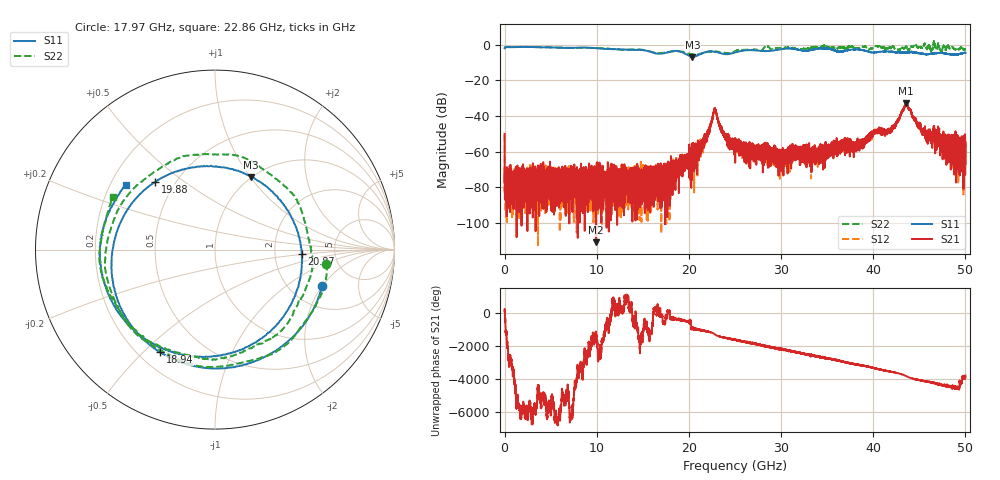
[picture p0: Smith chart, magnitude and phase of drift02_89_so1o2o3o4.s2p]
!Created with skrf (http://scikit-rf.org).
# Hz S RI R 50.0
!freq ReS11 ImS11 ReS21 ImS21 ReS12 ImS12 ReS22 ImS22
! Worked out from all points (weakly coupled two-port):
!   10001 points, 300 kHz to 50 GHz, reference 50 ohm
!   highest |S21| = -32.80 dB at 43.59 GHz (marker M1); lowest = -110.9 dB at 9.905 GHz (marker M2)
!   lowest |S11| = -6.9 dB at 20.37 GHz (marker M3), VSWR 2.64, Z = 49.6 + j50.3 ohm
!   |S11| at or under -10 dB: nowhere
!   |S22| runs from -5.7 to 2.3 dB; largest |S21 - S12| = 0.0042
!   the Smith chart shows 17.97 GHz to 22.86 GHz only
!   S11 on the Smith chart (normalised r, x): 17.97 GHz: 2.93, -1.99; 18.94 GHz: 0.29, -0.56; 19.88 GHz: 0.39, +0.39; 20.87 GHz: 2.86, -0.20; 22.86 GHz: 0.26, +0.30
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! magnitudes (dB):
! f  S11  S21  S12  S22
! 300 kHz  -2.1  -50.1  -50.8  -2.1
! 270.3 MHz  -1.4  -79.3  -75.6  -1.4
! 8.335 GHz  -1.7  -84.5  -82.1  -1.9
! 9.905 GHz  -2.1  -110.9  -70.9  -2.0
! 16.67 GHz  -5.2  -71.1  -71.0  -4.7
! 17.97 GHz  -4.0  -79.4  -70.4  -4.1
! 18.94 GHz  -3.8  -70.8  -72.5  -3.9
! 19.88 GHz  -6.0  -69.8  -64.5  -5.1
! 20.37 GHz  -6.9  -58.8  -57.8  -5.4
! 20.87 GHz  -6.3  -70.1  -63.7  -5.5
! 21.78 GHz  -4.3  -51.9  -53.3  -4.4
! 22.86 GHz  -4.2  -36.6  -36.1  -3.9
! 23.87 GHz  -5.4  -51.1  -51.5  -4.6
! 25 GHz  -4.5  -55.2  -56.2  -3.9
! 29.96 GHz  -2.7  -68.7  -63.6  -2.0
! 33.34 GHz  -3.0  -63.9  -61.3  -1.6
! 38.19 GHz  -2.8  -54.6  -56.8  -2.3
! 41.67 GHz  -4.0  -48.2  -48.0  -1.9
! 43.59 GHz  -4.6  -32.8  -33.5  -1.5
! 45.72 GHz  -5.4  -51.2  -52.0  -1.0
! 49.71 GHz  -4.9  -63.9  -61.8  -2.1
! 50 GHz  -4.7  -67.2  -56.8  -2.7
